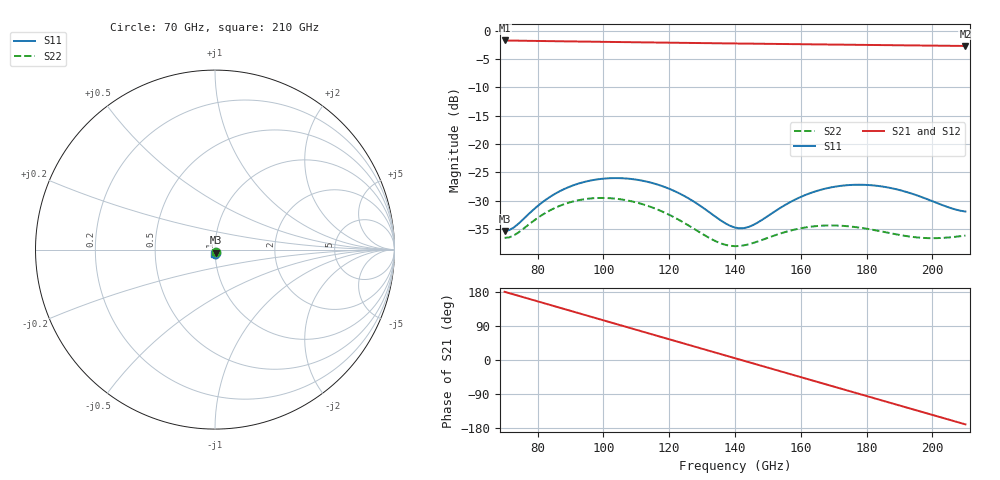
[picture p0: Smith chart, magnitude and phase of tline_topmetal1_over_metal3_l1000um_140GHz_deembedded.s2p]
! Created with skrf 2.0.1 (http://scikit-rf.org).
# GHz S DB R 50.0
!freq dBS11 angS11 dBS21 angS21 dBS12 angS12 dBS22 angS22
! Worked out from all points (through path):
!   101 points, 70 GHz to 210 GHz, reference 50 ohm
!   highest |S21| = -1.69 dB at 70 GHz (marker M1); lowest = -2.7 dB at 210 GHz (marker M2)
!   group delay of S21, straight-line fit = 6.94 ps
!   lowest |S11| = -35.4 dB at 70 GHz (marker M3), VSWR 1.03, Z = 50.3 - j1.68 ohm
!   |S11| at or under -10 dB: start of sweep to end of sweep
!   |S22| runs from -38.0 to -29.5 dB; largest |S21 - S12| = 1.4e-13
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70  -35.37 -79.1  -1.69 180.0  -1.69 180.0  -36.57 -77.7
72.8  -34.74 -63.6  -1.72 173.0  -1.72 173.0  -36.15 -63.8
81.2  -30.40 -49.1  -1.79 151.9  -1.79 151.9  -32.60 -50.1
86.8  -28.32 -53.8  -1.83 137.9  -1.83 137.9  -30.90 -54.3
93.8  -26.75 -64.3  -1.89 120.3  -1.89 120.3  -29.78 -64.4
99.4  -26.15 -74.1  -1.93 106.3  -1.93 106.3  -29.52 -73.8
105  -26.02 -84.2  -1.97 92.3  -1.97 92.3  -29.74 -83.3
110.6  -26.34 -94.1  -2.01 78.2  -2.01 78.2  -30.41 -92.4
117.6  -27.37 -105.3  -2.07 60.7  -2.07 60.7  -31.85 -102.0
128.8  -30.66 -115.6  -2.15 32.7  -2.15 32.7  -35.41 -107.0
135.8  -33.54 -109.2  -2.20 15.2  -2.20 15.2  -37.57 -97.8
140  -34.76 -96.8  -2.22 4.7  -2.22 4.7  -38.04 -88.3
144.2  -34.63 -81.4  -2.25 -5.8  -2.25 -5.8  -37.70 -79.8
151.2  -32.24 -67.0  -2.30 -23.2  -2.30 -23.2  -36.31 -73.7
156.8  -30.25 -66.2  -2.33 -37.2  -2.33 -37.2  -35.30 -74.9
163.8  -28.48 -71.8  -2.38 -54.7  -2.38 -54.7  -34.54 -80.2
170.8  -27.49 -80.4  -2.42 -72.2  -2.42 -72.2  -34.40 -86.8
176.4  -27.19 -87.9  -2.46 -86.1  -2.46 -86.1  -34.65 -91.7
182  -27.30 -95.1  -2.49 -100.1  -2.49 -100.1  -35.16 -95.4
187.6  -27.80 -101.4  -2.53 -114.1  -2.53 -114.1  -35.79 -97.0
198.8  -29.83 -107.6  -2.60 -142.0  -2.60 -142.0  -36.62 -94.4
210  -31.92 -96.4  -2.66 -169.9  -2.66 -169.9  -36.17 -92.3
